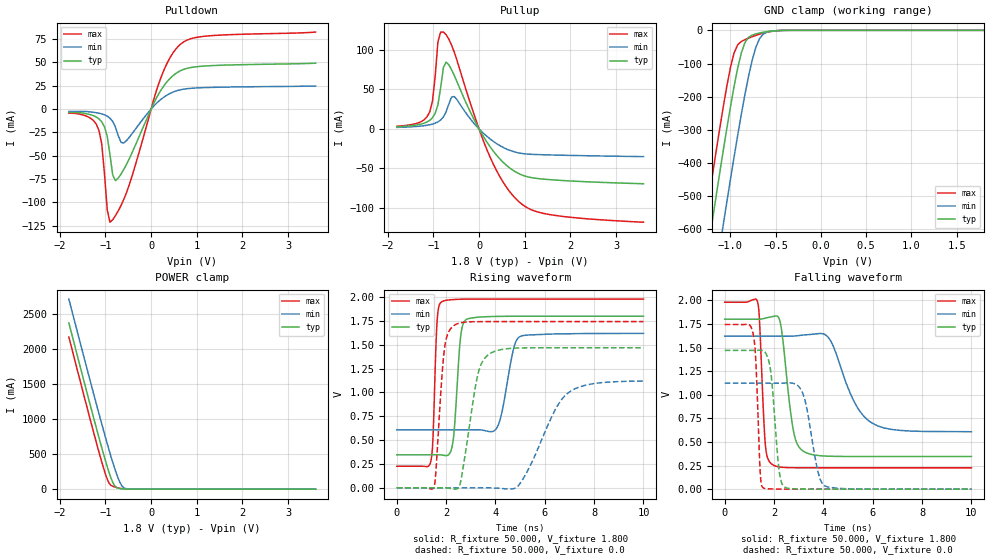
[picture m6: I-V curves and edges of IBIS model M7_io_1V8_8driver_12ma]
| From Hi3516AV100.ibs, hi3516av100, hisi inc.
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|   Model M7_io_1V8_8driver_12ma
[Model] M7_io_1V8_8driver_12ma
Model_type I/O
Enable   Active-Low
C_comp   3.817pF   3.061pF   4.225pF
C_comp_pullup   2.251pF   1.796pF   2.477pF
C_comp_pulldown   1.384pF   1.157pF   1.488pF
[Temperature Range]   25.000   0.125k   -40.000
[Voltage Range]   1.800V   1.620V   1.980V
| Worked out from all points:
|   slope of the pulldown table from 0 to 0.27 V, typ, clamps not added: 11.2 ohm
|   slope of the pullup table from 0 to 0.27 V, typ, clamps not added: 10.9 ohm
|   GND clamp passes 1 mA (typ) near -0.49 V on its own axis
|   POWER clamp passes 1 mA (typ) near -0.53 V on its own axis
|   rising waveform, R_fixture 50.000, V_fixture 1.800: 20-80 % time 221ps typ, 422ps min, 134ps max; typ from 0.346 V to 1.8 V
|   rising waveform, R_fixture 50.000, V_fixture 0.0: 20-80 % time 537ps typ, 1.21ns min, 275ps max; typ from 0 V to 1.47 V
|   falling waveform, R_fixture 50.000, V_fixture 1.800: 20-80 % time 386ps typ, 981ps min, 179ps max; typ from 1.8 V to 0.346 V
|   falling waveform, R_fixture 50.000, V_fixture 0.0: 20-80 % time 269ps typ, 454ps min, 156ps max; typ from 1.47 V to 0 V
[Pulldown]
|Voltage   I(typ)   I(min)   I(max)
-1.8V     -3.708mA   -2.59mA    -4.466mA
-1.32V    -6.116mA   -3.106mA   -9.975mA
-1.14V    -10.55mA   -4.462mA   -23.08mA
-1.08V    -13.7mA    -5.2mA     -37.58mA
-960mV    -29.41mA   -7.65mA    -108.1mA
-900mV    -49.01mA   -9.837mA   -121.2mA
-840mV    -70.61mA   -13.38mA   -118.6mA
-720mV    -74.03mA   -28.32mA   -109.1mA
-600mV    -64.88mA   -36.42mA   -97.05mA
180mV     17.44mA    8.944mA    28.99mA
600mV     39.95mA    20.13mA    67.5mA
3.6V      49.14mA    24.7mA     82.45mA
[Pullup]
|Voltage   I(typ)   I(min)   I(max)
-1.8V     2.698mA    1.93mA     3.353mA
-1.32V    5.468mA    3.359mA    7.854mA
-1.08V    10.81mA    5.257mA    21.44mA
-1.02V    14.05mA    6.099mA    34.58mA
-900mV    30.46mA    8.852mA    109.9mA
-780mV    77.41mA    15.13mA    122.4mA
-720mV    84.43mA    21.6mA     119.1mA
-540mV    67.46mA    40.93mA    96.69mA
180mV     -17.27mA   -9.74mA    -27.27mA
840mV     -55.62mA   -29.98mA   -90.26mA
1.5V      -63.88mA   -32.8mA    -107.8mA
3.6V      -69.32mA   -35.02mA   -117.9mA
[GND_clamp]
|Voltage   I(typ)   I(min)   I(max)
-1.8V     -1.691A    -1.906A    -1.562A
-1.28V    -718.8mA   -945.3mA   -582.9mA
-1.2V     -573.8mA   -800.2mA   -438.1mA
-1.08V    -362.8mA   -586.8mA   -231.3mA
-1V       -230.6mA   -448.7mA   -112.1mA
-960mV    -169.4mA   -381.5mA   -68.27mA
-880mV    -68.26mA   -253.2mA   -33.53mA
-800mV    -21.15mA   -138.4mA   -23.47mA
-720mV    -10.71mA   -51.74mA   -15.27mA
-680mV    -8.059mA   -25.85mA   -11.7mA
-600mV    -4.119mA   -5.718mA   -5.884mA
1.8V      0A         0A         0A
[POWER_clamp]
|Voltage   I(typ)   I(min)   I(max)
-1.8V     2.376A     2.715A     2.172A
-1.2V     877.1mA    1.22A      670.4mA
-1.04V    498.6mA    836.2mA    300.3mA
-960mV    321mA      649.8mA    143.2mA
-920mV    238.2mA    558.8mA    86.5mA
-880mV    162.5mA    469.9mA    55.14mA
-800mV    51.19mA    300.9mA    32.23mA
-760mV    25.15mA    223.2mA    24.36mA
-680mV    8.367mA    92.98mA    12.8mA
-600mV    3.083mA    20.8mA     5.475mA
-400mV    50.2uA     121.8uA    62uA
3.6V      -21.96uA   -79.79nA   -43uA
[Ramp]
| variable   typ   min   max
dV/dt_r   0.882/0.537n   0.672/1.209n   1.046/0.275n
dV/dt_f   0.873/0.389n   0.607/0.979n   1.052/0.180n
R_load = 50.000
[Rising Waveform]
R_fixture= 50.000
V_fixture= 1.800
V_fixture_min= 1.620
V_fixture_max= 1.980
|time   V(typ)   V(min)   V(max)
0s        345.8mV    608.1mV    226.1mV
1.385ns   345.8mV    608.1mV    283.1mV
1.635ns   346.2mV    608.1mV    1.748V
1.824ns   344.4mV    608.1mV    1.952V
2.258ns   452.5mV    608.1mV    1.974V
2.578ns   1.562V     607.9mV    1.978V
2.789ns   1.761V     608mV      1.979V
4.06ns    1.798V     630.7mV    1.98V
4.981ns   1.8V       1.585V     1.98V
10ns      1.8V       1.62V      1.98V
[Rising Waveform]
R_fixture= 50.000
V_fixture= 0.0
V_fixture_min= 0.0
V_fixture_max= 0.0
|time   V(typ)   V(min)   V(max)
0s        159.2uV    0V         199.7uV
1.51ns    134.6uV    0V         12.92mV
1.924ns   764.7uV    0V         1.439V
2.325ns   -13.41mV   5.842uV    1.704V
2.588ns   63.69mV    4.367uV    1.731V
3.288ns   1.19V      29.86uV    1.743V
3.698ns   1.393V     507.8uV    1.744V
4.921ns   1.466V     19.86mV    1.744V
6.971ns   1.47V      1.001V     1.744V
10ns      1.47V      1.12V      1.744V
[Falling Waveform]
R_fixture= 50.000
V_fixture= 1.800
V_fixture_min= 1.620
V_fixture_max= 1.980
|time   V(typ)   V(min)   V(max)
0s        1.8V       1.62V      1.98V
1.33ns    1.8V       1.62V      1.986V
1.645ns   1.811V     1.62V      480.3mV
1.892ns   1.825V     1.62V      268.3mV
2.244ns   1.775V     1.62V      234.4mV
2.754ns   665.2mV    1.621V     227.1mV
3.161ns   406.6mV    1.632V     226.3mV
4.201ns   349.4mV    1.607V     226.1mV
5.98ns    345.9mV    698.8mV    226.1mV
10ns      345.8mV    608.3mV    226.1mV
[Falling Waveform]
R_fixture= 50.000
V_fixture= 0.0
V_fixture_min= 0.0
V_fixture_max= 0.0
|time   V(typ)   V(min)   V(max)
0s        1.47V      1.122V     1.744V
1.14ns    1.469V     1.122V     1.659V
1.448ns   1.471V     1.122V     143.2mV
1.549ns   1.467V     1.122V     15.68mV
1.846ns   1.281V     1.122V     2.889mV
2.194ns   224.9mV    1.122V     813.6uV
2.424ns   22.61mV    1.124V     429.9uV
3.162ns   1.537mV    1.016V     210.5uV
4.061ns   275.4uV    33.81mV    200.2uV
10ns      159.2uV    1.774uV    199.8uV
